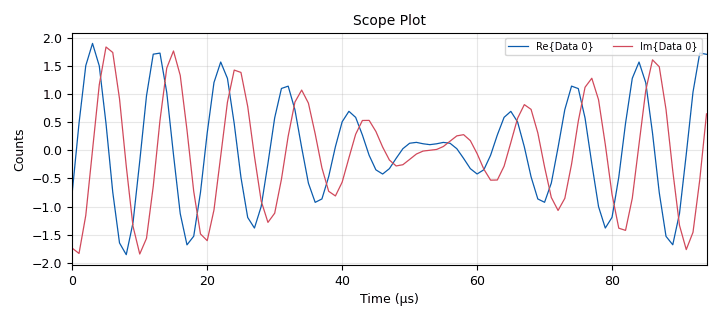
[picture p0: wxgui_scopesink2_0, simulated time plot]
<?xml version='1.0' encoding='utf-8'?>
<?grc format='1' created='3.7.9'?>
<flow_graph>
<block>
<key>options</key>
<param><key>id</key><value>top_block</value></param>
<param><key>category</key><value>Custom</value></param>
<param><key>generate_options</key><value>qt_gui</value></param>
</block>
<block>
<key>variable</key>
<param><key>id</key><value>samp_rate</value></param>
<param><key>value</key><value>1000000</value></param>
</block>
<block>
<key>analog_sig_source_x</key>
<param><key>id</key><value>Carrier</value></param>
<param><key>amp</key><value>1</value></param>
<param><key>freq</key><value>100000</value></param>
<param><key>offset</key><value>0</value></param>
<param><key>type</key><value>complex</value></param>
<param><key>samp_rate</key><value>samp_rate</value></param>
<param><key>waveform</key><value>analog.GR_COS_WAVE</value></param>
</block>
<block>
<key>blocks_multiply_xx</key>
<param><key>id</key><value>blocks_multiply_xx_0</value></param>
<param><key>type</key><value>complex</value></param>
</block>
<block>
<key>blocks_throttle</key>
<param><key>id</key><value>blocks_throttle_1</value></param>
<param><key>samples_per_second</key><value>samp_rate</value></param>
<param><key>type</key><value>complex</value></param>
</block>
<block>
<key>analog_sig_source_x</key>
<param><key>id</key><value>message</value></param>
<param><key>amp</key><value>0.9</value></param>
<param><key>freq</key><value>10000</value></param>
<param><key>offset</key><value>1</value></param>
<param><key>type</key><value>complex</value></param>
<param><key>samp_rate</key><value>samp_rate</value></param>
<param><key>waveform</key><value>analog.GR_COS_WAVE</value></param>
</block>
<block>
<key>notebook</key>
<param><key>id</key><value>n</value></param>
<param><key>labels</key><value>['modulated']</value></param>
<param><key>style</key><value>wx.NB_TOP</value></param>
</block>
<block>
<key>wxgui_scopesink2</key>
<param><key>id</key><value>wxgui_scopesink2_0</value></param>
<param><key>ac_couple</key><value>False</value></param>
<param><key>notebook</key><value>n,0</value></param>
<param><key>num_inputs</key><value>1</value></param>
<param><key>samp_rate</key><value>samp_rate</value></param>
<param><key>t_scale</key><value>0</value></param>
<param><key>title</key><value>Scope Plot</value></param>
<param><key>trig_mode</key><value>wxgui.TRIG_MODE_NORM</value></param>
<param><key>type</key><value>complex</value></param>
<param><key>v_offset</key><value>0</value></param>
<param><key>v_scale</key><value>0</value></param>
<param><key>xy_mode</key><value>False</value></param>
<param><key>y_axis_label</key><value>Counts</value></param>
</block>
<connection><source_block_id>Carrier</source_block_id><sink_block_id>blocks_multiply_xx_0</sink_block_id><source_key>0</source_key><sink_key>1</sink_key></connection>
<connection><source_block_id>blocks_multiply_xx_0</source_block_id><sink_block_id>blocks_throttle_1</sink_block_id><source_key>0</source_key><sink_key>0</sink_key></connection>
<connection><source_block_id>blocks_throttle_1</source_block_id><sink_block_id>wxgui_scopesink2_0</sink_block_id><source_key>0</source_key><sink_key>0</sink_key></connection>
<connection><source_block_id>message</source_block_id><sink_block_id>blocks_multiply_xx_0</sink_block_id><source_key>0</source_key><sink_key>0</sink_key></connection>
</flow_graph>
